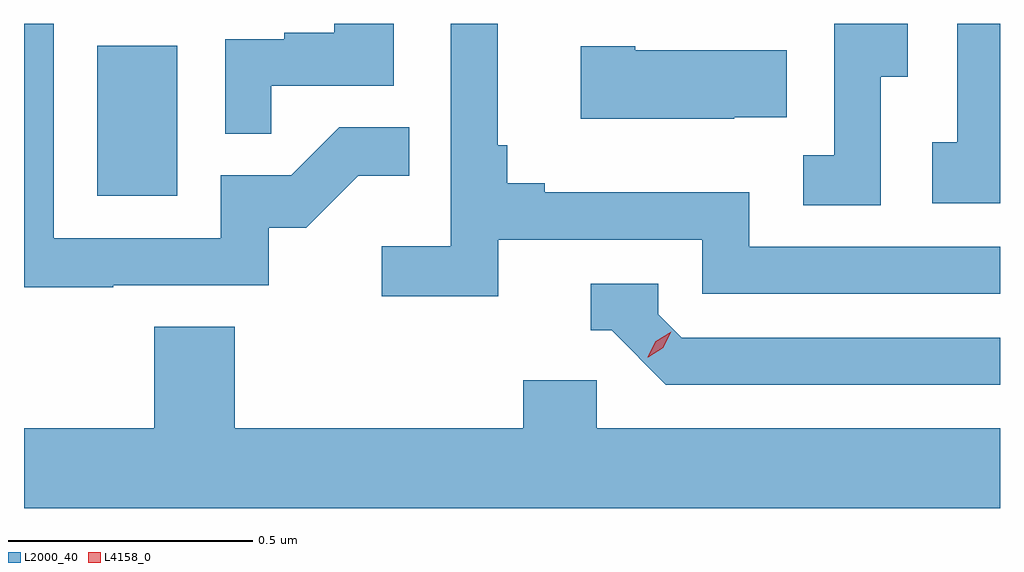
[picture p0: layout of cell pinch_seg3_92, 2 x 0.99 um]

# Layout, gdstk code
import gdstk
lib = gdstk.Library(unit=1e-6, precision=1e-09)
def R(c, l, rs):  # rectangles x0, y0, x1, y1
    for r in rs: c.add(gdstk.rectangle(r[:2], r[2:], *l))
def P(c, l, *ps):  # polygons
    for p in ps: c.add(gdstk.Polygon(p, *l))
L2000_40 = (2000, 40)
L4158_0 = (4158, 0)

pinch_seg3_92 = lib.new_cell('pinch_seg3_92')
R(pinch_seg3_92, L2000_40, [(1079.738,720.204,1079.902,720.511)])
P(pinch_seg3_92, L2000_40, [(1080.095,720.429),(1080.346,720.429),(1080.346,720.556),(1080.224,720.556),(1080.224,720.538),(1080.121,720.538),(1080.121,720.525),(1080,720.525),(1080,720.331),(1080.095,720.331)],
  [(1081.344,720.448),(1081.399,720.448),(1081.399,720.556),(1081.248,720.556),(1081.248,720.287),(1081.185,720.287),(1081.185,720.184),(1081.344,720.184)],
  [(1079.771,720.021),(1080.09,720.021),(1080.09,720.138),(1080.166,720.138),(1080.273,720.245),(1080.377,720.245),(1080.377,720.344),(1080.234,720.344),(1080.136,720.246),(1079.991,720.246),(1079.991,720.117),(1079.649,720.117),(1079.649,720.556),(1079.588,720.556),(1079.588,720.016),(1079.771,720.016)],
  [(1080.56,720.114),(1080.978,720.114),(1080.978,720.003),(1081.588,720.003),(1081.588,720.099),(1081.074,720.099),(1081.074,720.211),(1080.655,720.211),(1080.655,720.23),(1080.578,720.23),(1080.578,720.307),(1080.559,720.307),(1080.559,720.556),(1080.462,720.556),(1080.462,720.1),(1080.321,720.1),(1080.321,719.998),(1080.56,719.998)],
  [(1081.588,720.556),(1081.5,720.556),(1081.5,720.314),(1081.449,720.314),(1081.449,720.189),(1081.588,720.189)],
  [(1081.043,720.365),(1081.151,720.365),(1081.151,720.502),(1080.841,720.502),(1080.841,720.51),(1080.729,720.51),(1080.729,720.362),(1081.043,720.362)],
  [(1081.588,719.913),(1080.936,719.913),(1080.888,719.961),(1080.888,720.024),(1080.749,720.024),(1080.749,719.928),(1080.792,719.928),(1080.903,719.817),(1081.588,719.817)],
  [(1081.588,719.728),(1080.762,719.728),(1080.762,719.826),(1080.611,719.826),(1080.611,719.728),(1080.02,719.728),(1080.02,719.936),(1079.855,719.936),(1079.855,719.728),(1079.588,719.728),(1079.588,719.564),(1081.588,719.564)])
P(pinch_seg3_92, L4158_0, [(1080.866,719.873),(1080.866,719.874),(1080.883,719.906),(1080.914,719.925),(1080.914,719.925),(1080.914,719.925),(1080.898,719.892),(1080.867,719.873)])

lib.write_gds('pinch_seg3_92.gds')
